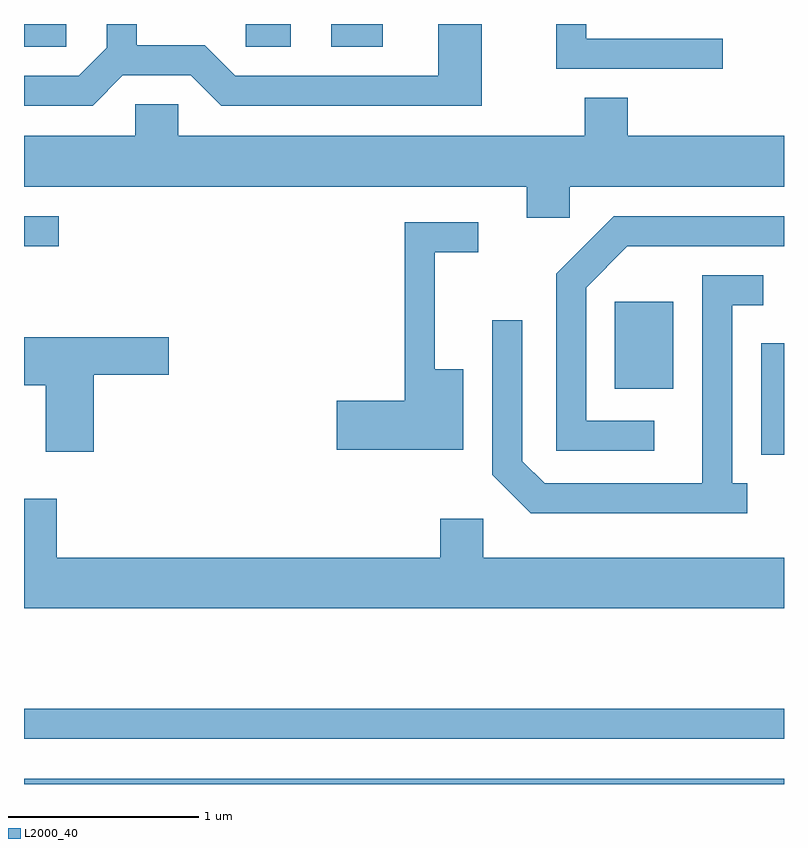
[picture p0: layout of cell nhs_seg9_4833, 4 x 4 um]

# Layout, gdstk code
import gdstk
lib = gdstk.Library(unit=1e-6, precision=1e-09)
def R(c, l, rs):  # rectangles x0, y0, x1, y1
    for r in rs: c.add(gdstk.rectangle(r[:2], r[2:], *l))
def P(c, l, *ps):  # polygons
    for p in ps: c.add(gdstk.Polygon(p, *l))
L2000_40 = (2000, 40)

nhs_seg9_4833 = lib.new_cell('nhs_seg9_4833')
R(nhs_seg9_4833, L2000_40, [(327.611,2006.432,331.611,2006.459), (327.611,2006.671,331.611,2006.829), (331.491,2008.166,331.611,2008.753), (330.721,2008.511,331.029,2008.969), (327.611,2009.261,327.793,2009.419), (327.611,2010.311,327.834,2010.432), (328.778,2010.311,329.014,2010.432), (329.228,2010.311,329.499,2010.432)])
P(nhs_seg9_4833, L2000_40, [(331.288,2010.354),(330.569,2010.354),(330.569,2010.432),(330.411,2010.432),(330.411,2010.196),(331.288,2010.196)],
  [(328.132,2010.161),(328.489,2010.161),(328.649,2010.001),(330.019,2010.001),(330.019,2010.432),(329.791,2010.432),(329.791,2010.159),(328.722,2010.159),(328.562,2010.319),(328.204,2010.319),(328.204,2010.432),(328.046,2010.432),(328.046,2010.307),(327.899,2010.159),(327.611,2010.159),(327.611,2010.001),(327.972,2010.001)],
  [(330.484,2009.576),(331.611,2009.576),(331.611,2009.844),(330.789,2009.844),(330.789,2010.044),(330.561,2010.044),(330.561,2009.844),(328.424,2009.844),(328.424,2010.009),(328.196,2010.009),(328.196,2009.844),(327.611,2009.844),(327.611,2009.576),(330.256,2009.576),(330.256,2009.411),(330.484,2009.411)],
  [(330.928,2008.344),(330.569,2008.344),(330.569,2009.044),(330.787,2009.261),(331.611,2009.261),(331.611,2009.419),(330.714,2009.419),(330.411,2009.117),(330.411,2008.186),(330.928,2008.186)],
  [(329.924,2008.614),(329.774,2008.614),(329.774,2009.231),(330.003,2009.231),(330.003,2009.389),(329.616,2009.389),(329.616,2008.449),(329.256,2008.449),(329.256,2008.191),(329.924,2008.191)],
  [(331.418,2008.014),(331.339,2008.014),(331.339,2008.951),(331.503,2008.951),(331.503,2009.109),(331.181,2009.109),(331.181,2008.014),(330.352,2008.014),(330.234,2008.132),(330.234,2008.873),(330.076,2008.873),(330.076,2008.059),(330.279,2007.856),(331.418,2007.856)],
  [(327.979,2008.586),(328.374,2008.586),(328.374,2008.784),(327.611,2008.784),(327.611,2008.531),(327.726,2008.531),(327.726,2008.181),(327.979,2008.181)],
  [(331.611,2007.624),(330.029,2007.624),(330.029,2007.829),(329.801,2007.829),(329.801,2007.624),(327.784,2007.624),(327.784,2007.934),(327.611,2007.934),(327.611,2007.356),(331.611,2007.356)])

lib.write_gds('nhs_seg9_4833.gds')
